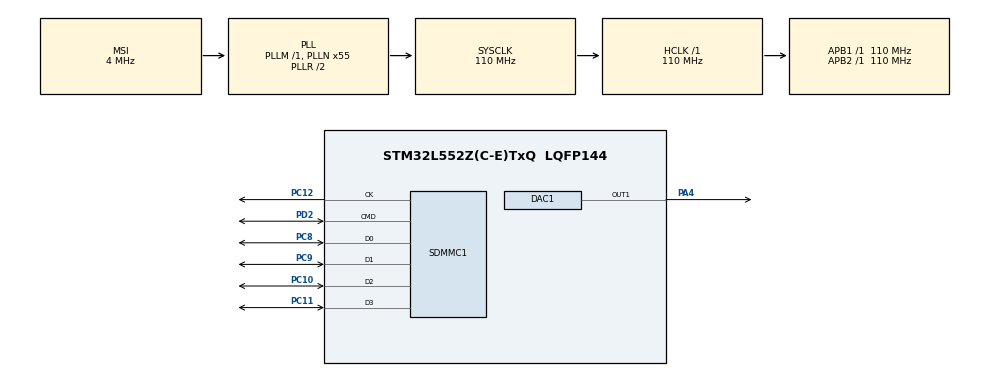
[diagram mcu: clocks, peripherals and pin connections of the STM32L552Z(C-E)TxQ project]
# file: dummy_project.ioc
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DAC1.DAC_Trigger-DAC_OUT1=DAC_TRIGGER_SOFTWARE
Dma.DAC1_CH1.0.Channel_PRIV_NPRIV=DMA_CHANNEL_NPRIV_DISABLE
Dma.DAC1_CH1.0.Direction=DMA_MEMORY_TO_PERIPH
Dma.DAC1_CH1.0.EventEnable=DISABLE
Dma.DAC1_CH1.0.Instance=DMA1_Channel1
Dma.DAC1_CH1.0.MemDataAlignment=DMA_MDATAALIGN_HALFWORD
Dma.DAC1_CH1.0.MemInc=DMA_MINC_ENABLE
Dma.DAC1_CH1.0.Mode=DMA_NORMAL
Dma.DAC1_CH1.0.PeriphDataAlignment=DMA_PDATAALIGN_HALFWORD
Dma.DAC1_CH1.0.PeriphInc=DMA_PINC_DISABLE
Dma.DAC1_CH1.0.Polarity=HAL_DMAMUX_REQ_GEN_RISING
Dma.DAC1_CH1.0.Priority=DMA_PRIORITY_LOW
Dma.DAC1_CH1.0.RequestNumber=1
Dma.DAC1_CH1.0.SignalID=NONE
Dma.DAC1_CH1.0.SyncEnable=DISABLE
Dma.DAC1_CH1.0.SyncPolarity=HAL_DMAMUX_SYNC_NO_EVENT
Dma.DAC1_CH1.0.SyncRequestNumber=1
Dma.DAC1_CH1.0.SyncSignalID=NONE
Dma.Request0=DAC1_CH1
Mcu.Family=STM32L5
Mcu.Name=STM32L552Z(C-E)TxQ
Mcu.Package=LQFP144
Mcu.TrustZone=disable
NVIC.DMA1_Channel1_IRQn=true\:0\:0\:false\:false\:true\:false\:true\:true
NVIC.PriorityGroup=NVIC_PRIORITYGROUP_3
NVIC.SDMMC1_IRQn=true\:0\:0\:false\:false\:true\:true\:true\:true
PA4.Signal=COMP_DAC11_group
PC10.Mode=SD_4_bits_Wide_bus
PC10.Signal=SDMMC1_D2
PC11.Mode=SD_4_bits_Wide_bus
PC11.Signal=SDMMC1_D3
PC12.Mode=SD_4_bits_Wide_bus
PC12.Signal=SDMMC1_CK
PC8.Mode=SD_4_bits_Wide_bus
PC8.Signal=SDMMC1_D0
PC9.Mode=SD_4_bits_Wide_bus
PC9.Signal=SDMMC1_D1
PD2.Mode=SD_4_bits_Wide_bus
PD2.Signal=SDMMC1_CMD
ProjectManager.HeapSize=0x200
ProjectManager.StackSize=0x400
ProjectManager.TargetToolchain=STM32CubeIDE
RCC.ADCCLockSelection=RCC_ADCCLKSOURCE_SYSCLK
RCC.ADCFreq_Value=110000000
RCC.AHBFreq_Value=110000000
RCC.APB1Freq_Value=110000000
RCC.APB1TimFreq_Value=110000000
RCC.APB2Freq_Value=110000000
RCC.APB2TimFreq_Value=110000000
RCC.CK48CLockSelection=RCC_USBCLKSOURCE_HSI48
RCC.CortexFreq_Value=110000000
RCC.HCLKFreq_Value=110000000
RCC.HSE_VALUE=8000000
RCC.HSI48_VALUE=48000000
RCC.HSI_VALUE=16000000
RCC.LSE_VALUE=32768
RCC.MSI_VALUE=4000000
RCC.PLLN=55
RCC.PLLSAI1N=24
RCC.RTCClockSelection=RCC_RTCCLKSOURCE_LSE
RCC.SYSCLKFreq_VALUE=110000000
RCC.SYSCLKSource=RCC_SYSCLKSOURCE_PLLCLK
RCC.USBFreq_Value=48000000
RCC.VCOOutputFreq_Value=220000000
SDMMC1.ClockDiv=1
SH.COMP_DAC11_group.0=DAC1_OUT1,DAC_OUT1
VP_ICACHE_VS_ICACHE.Mode=DirectMappedCache
VP_PWR_VS_DBSignals.Mode=DisableDeadBatterySignals
VP_PWR_VS_SECSignals.Mode=Security/Privilege
board=NUCLEO-L552ZE-Q

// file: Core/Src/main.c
/* USER CODE BEGIN Header */
/**
  ******************************************************************************
  * @file           : main.c
  * @brief          : Main program body
  ******************************************************************************
  * @attention
  *
  * Copyright (c) 2022 STMicroelectronics.
  * All rights reserved.
  *
  * This software is licensed under terms that can be found in the LICENSE file
  * in the root directory of this software component.
  * If no LICENSE file comes with this software, it is provided AS-IS.
  *
  ******************************************************************************
  */
/* USER CODE END Header */
#include "main.h"
#include "app_fatfs.h"

 DAC_HandleTypeDef hdac1;
DMA_HandleTypeDef hdma_dac1_ch1;

SD_HandleTypeDef hsd1;

void SystemClock_Config(void);
static void MX_GPIO_Init(void);
static void MX_DMA_Init(void);
static void MX_DAC1_Init(void);
static void MX_ICACHE_Init(void);
static void MX_SDMMC1_SD_Init(void);

int main(void)
{

  /* MCU Configuration--------------------------------------------------------*/

  /* Reset of all peripherals, Initializes the Flash interface and the Systick. */
  HAL_Init();

  /* Configure the system clock */
  SystemClock_Config();

  /* Initialize all configured peripherals */
  MX_GPIO_Init();
  MX_DMA_Init();
  MX_DAC1_Init();
  MX_ICACHE_Init();
  MX_SDMMC1_SD_Init();
  if (MX_FATFS_Init() != APP_OK) {
    Error_Handler();
  }
  /* USER CODE BEGIN 2 */
  	FRESULT res; 									/* FatFs function common result code */
  	uint32_t byteswritten; 							/* File write/read counts */
  	uint8_t wtext[] = "STM32 FATFS works great!"; 	/* File write buffer */
  	uint8_t rtext[_MAX_SS];							/* File read buffer */

  	res = f_mount(&SDFatFS, (TCHAR const*)SDPath, 1);
  	if(res != FR_OK)
  	{
  		Error_Handler();
  	}
  	else
  	{
  		//Open file for writing (Create)
  		res = f_open(&SDFile, "STM32.TXT", FA_CREATE_ALWAYS | FA_WRITE);
  		if(res != FR_OK)
  		{
  			Error_Handler();
  		}
  		else
  		{
  			//Write to the text file
  			res = f_write(&SDFile, wtext, strlen((char *)wtext), (UINT*)&byteswritten);
  			if((byteswritten == 0) || (res != FR_OK))
  			{
  				Error_Handler();
  			}
  			else
  			{
  				f_close(&SDFile);
  			}
  		}
  	}
  	f_mount(&SDFatFS, (TCHAR const*)NULL, 0);
  /* USER CODE END 2 */

  /* Infinite loop */
  while (1)
  {

  }
}

void SystemClock_Config(void)
{
  RCC_OscInitTypeDef RCC_OscInitStruct = {0};
  RCC_ClkInitTypeDef RCC_ClkInitStruct = {0};

  /** Configure the main internal regulator output voltage
  */
  if (HAL_PWREx_ControlVoltageScaling(PWR_REGULATOR_VOLTAGE_SCALE0) != HAL_OK)
  {
    Error_Handler();
  }

  /** Initializes the RCC Oscillators according to the specified parameters
  * in the RCC_OscInitTypeDef structure.
  */
  RCC_OscInitStruct.OscillatorType = RCC_OSCILLATORTYPE_MSI;
  RCC_OscInitStruct.MSIState = RCC_MSI_ON;
  RCC_OscInitStruct.MSICalibrationValue = RCC_MSICALIBRATION_DEFAULT;
  RCC_OscInitStruct.MSIClockRange = RCC_MSIRANGE_6;
  RCC_OscInitStruct.PLL.PLLState = RCC_PLL_ON;
  RCC_OscInitStruct.PLL.PLLSource = RCC_PLLSOURCE_MSI;
  RCC_OscInitStruct.PLL.PLLM = 1;
  RCC_OscInitStruct.PLL.PLLN = 55;
  RCC_OscInitStruct.PLL.PLLP = RCC_PLLP_DIV7;
  RCC_OscInitStruct.PLL.PLLQ = RCC_PLLQ_DIV2;
  RCC_OscInitStruct.PLL.PLLR = RCC_PLLR_DIV2;
  if (HAL_RCC_OscConfig(&RCC_OscInitStruct) != HAL_OK)
  {
    Error_Handler();
  }

  /** Initializes the CPU, AHB and APB buses clocks
  */
  RCC_ClkInitStruct.ClockType = RCC_CLOCKTYPE_HCLK|RCC_CLOCKTYPE_SYSCLK
                              |RCC_CLOCKTYPE_PCLK1|RCC_CLOCKTYPE_PCLK2;
  RCC_ClkInitStruct.SYSCLKSource = RCC_SYSCLKSOURCE_PLLCLK;
  RCC_ClkInitStruct.AHBCLKDivider = RCC_SYSCLK_DIV1;
  RCC_ClkInitStruct.APB1CLKDivider = RCC_HCLK_DIV1;
  RCC_ClkInitStruct.APB2CLKDivider = RCC_HCLK_DIV1;

  if (HAL_RCC_ClockConfig(&RCC_ClkInitStruct, FLASH_LATENCY_5) != HAL_OK)
  {
    Error_Handler();
  }

  /** Enable MSI Auto calibration
  */
  HAL_RCCEx_EnableMSIPLLMode();
}

static void MX_DAC1_Init(void)
{

  DAC_ChannelConfTypeDef sConfig = {0};

  /** DAC Initialization
  */
  hdac1.Instance = DAC1;
  if (HAL_DAC_Init(&hdac1) != HAL_OK)
  {
    Error_Handler();
  }

  /** DAC channel OUT1 config
  */
  sConfig.DAC_SampleAndHold = DAC_SAMPLEANDHOLD_DISABLE;
  sConfig.DAC_Trigger = DAC_TRIGGER_SOFTWARE;
  sConfig.DAC_OutputBuffer = DAC_OUTPUTBUFFER_ENABLE;
  sConfig.DAC_ConnectOnChipPeripheral = DAC_CHIPCONNECT_DISABLE;
  sConfig.DAC_UserTrimming = DAC_TRIMMING_FACTORY;
  if (HAL_DAC_ConfigChannel(&hdac1, &sConfig, DAC_CHANNEL_1) != HAL_OK)
  {
    Error_Handler();
  }

}

static void MX_ICACHE_Init(void)
{

  /** Enable instruction cache in 1-way (direct mapped cache)
  */
  if (HAL_ICACHE_ConfigAssociativityMode(ICACHE_1WAY) != HAL_OK)
  {
    Error_Handler();
  }
  if (HAL_ICACHE_Enable() != HAL_OK)
  {
    Error_Handler();
  }

}

static void MX_SDMMC1_SD_Init(void)
{

  hsd1.Instance = SDMMC1;
  hsd1.Init.ClockEdge = SDMMC_CLOCK_EDGE_RISING;
  hsd1.Init.ClockPowerSave = SDMMC_CLOCK_POWER_SAVE_DISABLE;
  hsd1.Init.BusWide = SDMMC_BUS_WIDE_4B;
  hsd1.Init.HardwareFlowControl = SDMMC_HARDWARE_FLOW_CONTROL_DISABLE;
  hsd1.Init.ClockDiv = 1;

}

static void MX_DMA_Init(void)
{

  /* DMA controller clock enable */
  __HAL_RCC_DMAMUX1_CLK_ENABLE();
  __HAL_RCC_DMA1_CLK_ENABLE();

  /* DMA interrupt init */
  /* DMA1_Channel1_IRQn interrupt configuration */
  HAL_NVIC_SetPriority(DMA1_Channel1_IRQn, 0, 0);
  HAL_NVIC_EnableIRQ(DMA1_Channel1_IRQn);

}

static void MX_GPIO_Init(void)
{

  /* GPIO Ports Clock Enable */
  __HAL_RCC_GPIOA_CLK_ENABLE();
  __HAL_RCC_GPIOC_CLK_ENABLE();
  __HAL_RCC_GPIOD_CLK_ENABLE();

}

void Error_Handler(void)
{
  __disable_irq();
  while (1)
  {
  }
}
